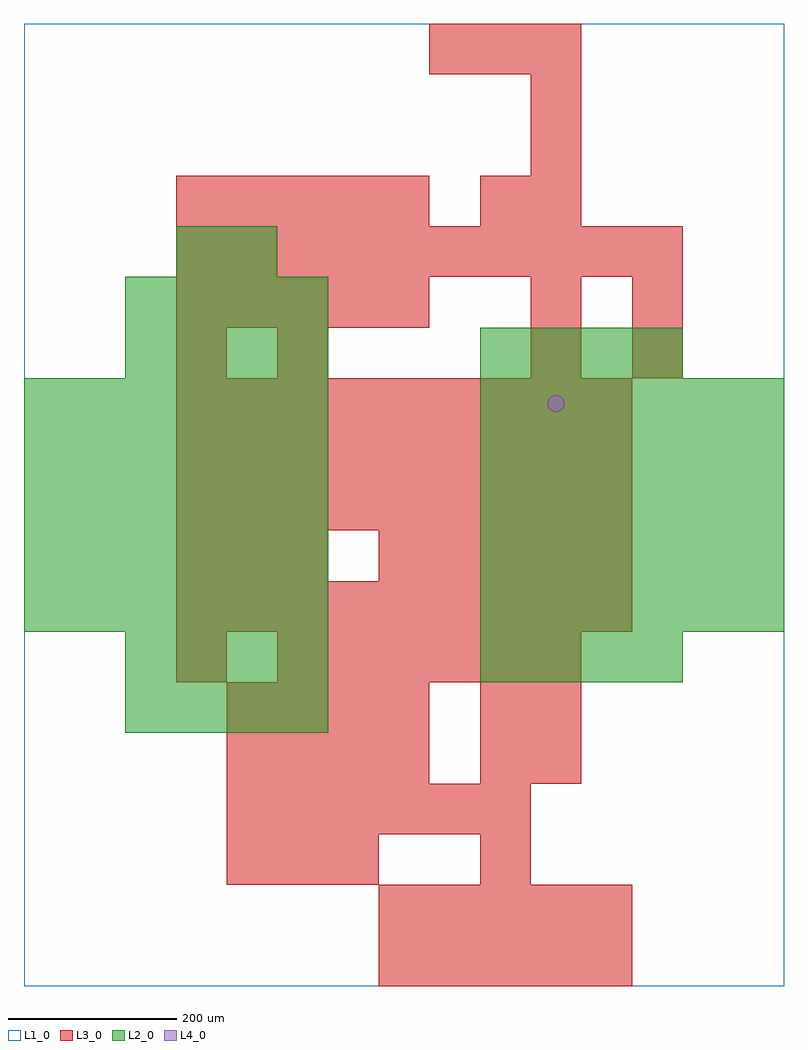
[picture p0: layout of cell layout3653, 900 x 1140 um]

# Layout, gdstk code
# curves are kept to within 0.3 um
import gdstk
lib = gdstk.Library(unit=1e-6, precision=1e-09)
def R(c, l, rs):  # rectangles x0, y0, x1, y1
    for r in rs: c.add(gdstk.rectangle(r[:2], r[2:], *l))
def A(c, l, x, y, w, h, nx, ny, dx, dy):  # array of equal rectangles
    R(c, l, [(x+i*dx, y+j*dy, x+i*dx+w, y+j*dy+h) for i in range(nx) for j in range(ny)])
def P(c, l, *ps):  # polygons
    for p in ps: c.add(gdstk.Polygon(p, *l))
L1_0 = (1, 0)
L2_0 = (2, 0)
L3_0 = (3, 0)
L4_0 = (4, 0)

layout3653 = lib.new_cell('layout3653')
R(layout3653, L1_0, [(0,0,900,1140)])
A(layout3653, L2_0, 120, 300, 60, 60, 4, 2, 60, 60)
A(layout3653, L2_0, 540, 360, 60, 60, 4, 2, 60, 360)
A(layout3653, L2_0, 0, 420, 60, 60, 6, 5, 60, 60)
A(layout3653, L2_0, 540, 420, 60, 60, 6, 5, 60, 60)
A(layout3653, L2_0, 120, 720, 60, 60, 4, 2, 60, 60)
R(layout3653, L2_0, [(180,840,240,900), (240,840,300,900)])
A(layout3653, L3_0, 420, 0, 60, 60, 5, 2, 60, 60)
A(layout3653, L3_0, 240, 120, 60, 60, 3, 1, 60, 0)
A(layout3653, L3_0, 240, 180, 60, 60, 6, 1, 60, 0)
A(layout3653, L3_0, 240, 240, 60, 60, 4, 2, 60, 60)
A(layout3653, L3_0, 300, 360, 60, 60, 6, 1, 60, 0)
A(layout3653, L3_0, 180, 420, 60, 60, 9, 2, 60, 120)
A(layout3653, L3_0, 180, 480, 60, 60, 3, 1, 60, 0)
A(layout3653, L3_0, 420, 480, 60, 60, 5, 1, 60, 0)
A(layout3653, L3_0, 180, 600, 60, 60, 9, 2, 60, 60)
A(layout3653, L3_0, 180, 780, 60, 60, 5, 2, 60, 120)
A(layout3653, L3_0, 180, 840, 60, 60, 10, 1, 60, 0)
A(layout3653, L3_0, 600, 900, 60, 60, 1, 3, 0, 60)
A(layout3653, L3_0, 480, 1080, 60, 60, 3, 1, 60, 0)
R(layout3653, L3_0, [(540,120,600,180), (540,240,600,300), (600,240,660,300), (540,300,600,360), (600,300,660,360), (180,360,240,420), (180,720,240,780), (300,720,360,780), (600,720,660,780), (720,720,780,780), (600,780,660,840), (720,780,780,840), (540,900,600,960)])
P(layout3653, L4_0, [(640,690),(639.239,693.827),(637.071,697.071),(633.827,699.239),(630,700),(626.173,699.239),(622.929,697.071),(620.761,693.827),(620,690),(620.761,686.173),(622.929,682.929),(626.173,680.761),(630,680),(633.827,680.761),(637.071,682.929),(639.239,686.173)])

lib.write_gds('layout3653.gds')
